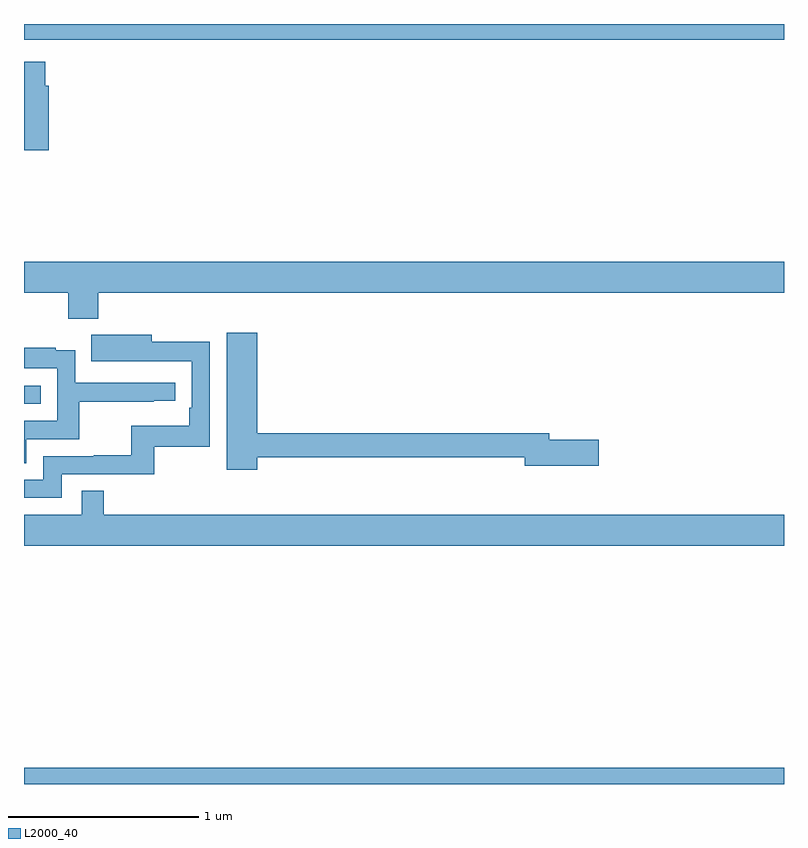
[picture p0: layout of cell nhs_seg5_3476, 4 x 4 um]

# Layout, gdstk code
import gdstk
lib = gdstk.Library(unit=1e-6, precision=1e-09)
def R(c, l, rs):  # rectangles x0, y0, x1, y1
    for r in rs: c.add(gdstk.rectangle(r[:2], r[2:], *l))
def P(c, l, *ps):  # polygons
    for p in ps: c.add(gdstk.Polygon(p, *l))
L2000_40 = (2000, 40)

nhs_seg5_3476 = lib.new_cell('nhs_seg5_3476')
R(nhs_seg5_3476, L2000_40, [(315,896.799,319,896.884), (315,898.8,315.089,898.896), (315,900.716,319,900.799)])
P(nhs_seg5_3476, L2000_40, [(315.13,900.474),(315.112,900.474),(315.112,900.601),(315,900.601),(315,900.134),(315.13,900.134)],
  [(315.392,899.384),(319,899.384),(319,899.548),(315,899.548),(315,899.384),(315.232,899.384),(315.232,899.249),(315.392,899.249)],
  [(316.228,898.518),(317.636,898.518),(317.636,898.475),(318.025,898.475),(318.025,898.61),(317.764,898.61),(317.764,898.646),(316.228,898.646),(316.228,899.173),(316.067,899.173),(316.067,898.452),(316.228,898.452)],
  [(315.198,898.428),(315.685,898.428),(315.685,898.575),(315.978,898.575),(315.978,899.126),(315.673,899.126),(315.673,899.164),(315.355,899.164),(315.355,899.024),(315.569,899.024),(315.569,899.025),(315.882,899.025),(315.882,898.78),(315.869,898.78),(315.869,898.684),(315.564,898.684),(315.564,898.529),(315.367,898.529),(315.367,898.524),(315.102,898.524),(315.102,898.401),(315,898.401),(315,898.305),(315.198,898.305)],
  [(315.013,898.614),(315.29,898.614),(315.29,898.81),(315.683,898.81),(315.683,898.815),(315.796,898.815),(315.796,898.911),(315.27,898.911),(315.27,899.083),(315.167,899.083),(315.167,899.095),(315,899.095),(315,898.986),(315.174,898.986),(315.174,898.71),(315,898.71),(315,898.486),(315.013,898.486)],
  [(315.303,898.343),(315.303,898.216),(315,898.216),(315,898.052),(319,898.052),(319,898.216),(315.419,898.216),(315.419,898.343)])

lib.write_gds('nhs_seg5_3476.gds')
